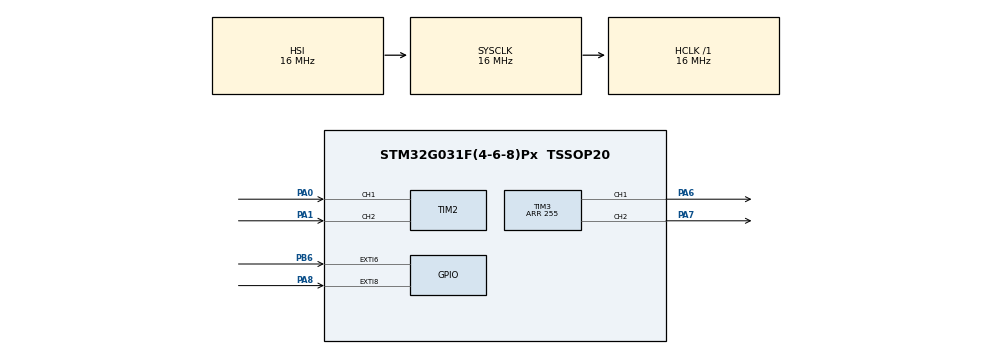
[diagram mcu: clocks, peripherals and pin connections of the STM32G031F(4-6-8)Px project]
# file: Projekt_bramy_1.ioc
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Mcu.Family=STM32G0
Mcu.Name=STM32G031F(4-6-8)Px
Mcu.Package=TSSOP20
NVIC.EXTI4_15_IRQn=true\:0\:0\:false\:false\:true\:true\:true\:true
NVIC.TIM14_IRQn=true\:0\:0\:false\:false\:true\:true\:true\:true
NVIC.TIM17_IRQn=true\:0\:0\:false\:false\:true\:true\:true\:true
PA0.Signal=S_TIM2_CH1_ETR
PA1.Signal=S_TIM2_CH2
PA14-BOOT0__PA15.StandardMode=true
PA6.Signal=S_TIM3_CH1
PA7.Signal=S_TIM3_CH2
PA8.GPIO_ModeDefaultEXTI=GPIO_MODE_IT_RISING_FALLING
PA8.GPIO_PuPd=GPIO_PULLUP
PA8.Signal=GPXTI8
PB0__PB1__PB2__PA8.StandardMode=true
PB3__PB4__PB5__PB6.StandardMode=true
PB6.GPIO_ModeDefaultEXTI=GPIO_MODE_IT_RISING_FALLING
PB6.Signal=GPXTI6
PB7__PB8.StandardMode=true
PC14-OSC32_IN\ (PC14).Mode=LSE-External-Oscillator
PC14-OSC32_IN\ (PC14).Signal=RCC_OSC32_IN
PC14-OSC32_IN\ (PC14)__PB9.StandardMode=true
PC15-OSC32_OUT\ (PC15).Mode=LSE-External-Oscillator
PC15-OSC32_OUT\ (PC15).Signal=RCC_OSC32_OUT
ProjectManager.HeapSize=0x200
ProjectManager.StackSize=0x400
ProjectManager.TargetToolchain=CMake
RCC.AHBFreq_Value=16000000
RCC.CortexFreq_Value=16000000
RCC.EXTERNAL_CLOCK_VALUE=12288000
RCC.HCLKFreq_Value=16000000
RCC.HSE_VALUE=8000000
RCC.HSI_VALUE=16000000
RCC.SYSCLKFreq_VALUE=16000000
RCC.VCOOutputFreq_Value=128000000
SH.S_TIM2_CH1_ETR.0=TIM2_CH1,Encoder_Interface
SH.S_TIM2_CH2.0=TIM2_CH2,Encoder_Interface
SH.S_TIM3_CH1.0=TIM3_CH1,PWM Generation1 CH1
SH.S_TIM3_CH2.0=TIM3_CH2,PWM Generation2 CH2
TIM14.Period=100
TIM14.Prescaler=160-1
TIM17.Channel=TIM_CHANNEL_1
TIM17.Prescaler=16000 -1
TIM3.AutoReloadPreload=TIM_AUTORELOAD_PRELOAD_DISABLE
TIM3.Channel-PWM\ Generation1\ CH1=TIM_CHANNEL_1
TIM3.Channel-PWM\ Generation2\ CH2=TIM_CHANNEL_2
TIM3.Period=255
VP_TIM14_VS_ClockSourceINT.Mode=Enable_Timer
VP_TIM17_VS_ClockSourceINT.Mode=Enable_Timer
VP_TIM17_VS_no_output1.Mode=Output Compare1 No Output
board=custom

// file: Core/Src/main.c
/* USER CODE BEGIN Header */
/**
  ******************************************************************************
  * @file           : main.c
  * @brief          : Main program body
  ******************************************************************************
  * @attention
  *
  * Copyright (c) 2026 STMicroelectronics.
  * All rights reserved.
  *
  * This software is licensed under terms that can be found in the LICENSE file
  * in the root directory of this software component.
  * If no LICENSE file comes with this software, it is provided AS-IS.
  *
  ******************************************************************************
  */
/* USER CODE END Header */
#include "main.h"

/* USER CODE BEGIN PD */
void setMotor(uint32_t speed, uint8_t direction);

/* USER CODE END PD */

TIM_HandleTypeDef htim2;
TIM_HandleTypeDef htim3;
TIM_HandleTypeDef htim14;
TIM_HandleTypeDef htim17;

/* USER CODE BEGIN PV */
uint32_t rawCounter = 0;
// int32_t signedcounter;

float motorEncoderPosition = 0;
float motorRealPosition = 0;
float motorOffset = 0;
float targetPosition = 0;
float homingOffset = 0.5f;
float openPosition = 3.0f;

volatile uint8_t contactAtHome = 0;
volatile uint8_t contact = 0;
volatile uint8_t homingInProgress = 0;

//float kp = 0;
// float ki = 100;
// float kd = 160;

// float dt = 0.01f;
// float Error = 0;
// float prevError = 0;
// float integral = 0;
// float derivative = 0;
// float controlOutput = 0;

/* USER CODE END PV */

void SystemClock_Config(void);
static void MX_GPIO_Init(void);
static void MX_TIM3_Init(void);
static void MX_TIM2_Init(void);
static void MX_TIM14_Init(void);
static void MX_TIM17_Init(void);
/* USER CODE BEGIN PFP */

//the sustem tick for pid control

void HAL_TIM_PeriodElapsedCallback(TIM_HandleTypeDef *htim){
  if(htim->Instance == TIM14) // bang bang control loop
  {
    rawCounter = __HAL_TIM_GET_COUNTER(&htim2);
    int32_t counter = (int32_t)rawCounter;
    motorEncoderPosition = (float)counter / 4200.0f;  // 3600.0f;;//8340.0f; 3840
    motorRealPosition = motorEncoderPosition - motorOffset;
    // signedcounter = (int32_t)rawCounter;

    if (motorRealPosition < targetPosition - 0.01f)
    {
      setMotor(255, 1); // Forward at full speed
    }
    else if (motorRealPosition > targetPosition + 0.01f)
    {
      setMotor(255, 0); // Reverse at full speed
    }
    else
    {
      setMotor(0, 3); // Stop
    }

    // Error = targetPosition - motorPosition;
    // derivative = (Error - prevError) / dt;
    // integral += Error * dt;

    // controlOutput = kp * Error + ki * integral + kd * derivative;

    // if (controlOutput > 255)
    //   controlOutput = 255;
    // else if (controlOutput < -255)
    //   controlOutput = -255;

    // if (controlOutput > 0)
    //   setMotor((uint32_t)controlOutput, 1); // Forward
    // else if (controlOutput < 0)
    //   setMotor((uint32_t)(-controlOutput), 0); // Reverse
    // else
    //   setMotor(0, 3); // Stop
  }
  else if(htim->Instance == TIM17) // timeout for IR sensor
  {
    targetPosition = 0;
    HAL_TIM_Base_Stop_IT(&htim17);
  }
}

void HAL_GPIO_EXTI_Callback(uint16_t GPIO_Pin)
{
  if (GPIO_Pin == GPIO_PIN_8) // Home pin
  {
    contact = (HAL_GPIO_ReadPin(GPIOA, GPIO_PIN_8) == GPIO_PIN_RESET); // Active low
  }
  else if (GPIO_Pin == GPIO_PIN_6) // IR sensor pin
  {
    if (HAL_GPIO_ReadPin(GPIOB, GPIO_PIN_6) == GPIO_PIN_RESET) // Active low
    {
      targetPosition = openPosition;
      HAL_TIM_Base_Start_IT(&htim17);
      __HAL_TIM_SET_COUNTER(&htim17, 0);
      __HAL_TIM_SET_AUTORELOAD(&htim17, 3000); // <-- 3 seconds timeout

    }
  }
}

/* USER CODE END PFP */

/* USER CODE BEGIN 0 */
void setMotor(uint32_t speed, uint8_t direction)
{
  switch (direction)
  {
    case 0: // Reverse
      __HAL_TIM_SET_COMPARE(&htim3, TIM_CHANNEL_1, speed);
      __HAL_TIM_SET_COMPARE(&htim3, TIM_CHANNEL_2, 0);
      break;
    case 1: // Forward
      __HAL_TIM_SET_COMPARE(&htim3, TIM_CHANNEL_1, 0);
      __HAL_TIM_SET_COMPARE(&htim3, TIM_CHANNEL_2, speed);
      break;
    case 2: // brake
      __HAL_TIM_SET_COMPARE(&htim3, TIM_CHANNEL_1, 255);
      __HAL_TIM_SET_COMPARE(&htim3, TIM_CHANNEL_2, 255);
      break;
    default: // Stop
      __HAL_TIM_SET_COMPARE(&htim3, TIM_CHANNEL_1, 0);
      __HAL_TIM_SET_COMPARE(&htim3, TIM_CHANNEL_2, 0);
      break;
  }
}

void homing(){
  homingInProgress = 1;
  HAL_TIM_Base_Start(&htim17);
  __HAL_TIM_SET_AUTORELOAD(&htim17, 65535);
  __HAL_TIM_SET_COUNTER(&htim17, 0);
  contactAtHome = (HAL_GPIO_ReadPin(GPIOA, GPIO_PIN_8) == GPIO_PIN_RESET); // Active low
  contact = contactAtHome;
  if(contactAtHome){
    setMotor(100, 1);
    while(contact && (__HAL_TIM_GET_COUNTER(&htim17) < 3000)){
      HAL_Delay(10);
    }
    HAL_Delay(100);
    setMotor(0, 3);
  }
  setMotor(100, 0);
  while(!contact && (__HAL_TIM_GET_COUNTER(&htim17) < (contactAtHome ? 6000 : 3000))){
    HAL_Delay(10);
  }
  motorOffset = motorEncoderPosition + homingOffset;
  setMotor(0, 3);
  targetPosition = 0;
  HAL_TIM_Base_Stop(&htim17);
  homingInProgress = 0;
}

/* USER CODE END 0 */

int main(void)
{

  /* MCU Configuration--------------------------------------------------------*/

  /* Reset of all peripherals, Initializes the Flash interface and the Systick. */
  HAL_Init();

  /* Configure the system clock */
  SystemClock_Config();

  /* Initialize all configured peripherals */
  MX_GPIO_Init();
  MX_TIM3_Init();
  MX_TIM2_Init();
  MX_TIM14_Init();
  MX_TIM17_Init();
  /* USER CODE BEGIN 2 */
  HAL_TIM_Encoder_Start(&htim2, TIM_CHANNEL_ALL);
  HAL_TIM_PWM_Start(&htim3, TIM_CHANNEL_1);
  HAL_TIM_PWM_Start(&htim3, TIM_CHANNEL_2);

  homing();

  HAL_TIM_Base_Start_IT(&htim14);
  /* USER CODE END 2 */

  /* Infinite loop */
  /* USER CODE BEGIN WHILE */
  while (1)
  {
    // rawCounter = __HAL_TIM_GET_COUNTER(&htim2);
    // int32_t counter = (int32_t)rawCounter;
    // motorEncoderPosition = (float)counter / 4200.0f;

    // targetPosition = 1;
    // HAL_Delay(5000);
    // targetPosition = 0;
    // HAL_Delay(5000);
    // int targetPosition = 250*sinf(prevT/1e6);

    // HAL_GPIO_WritePin(GPIOB, GPIO_PIN_3, GPIO_PIN_SET);

      // HAL_Delay(10);

    /* USER CODE END WHILE */

  }
}

void SystemClock_Config(void)
{
  RCC_OscInitTypeDef RCC_OscInitStruct = {0};
  RCC_ClkInitTypeDef RCC_ClkInitStruct = {0};

  /** Configure the main internal regulator output voltage
  */
  HAL_PWREx_ControlVoltageScaling(PWR_REGULATOR_VOLTAGE_SCALE1);

  /** Initializes the RCC Oscillators according to the specified parameters
  * in the RCC_OscInitTypeDef structure.
  */
  RCC_OscInitStruct.OscillatorType = RCC_OSCILLATORTYPE_HSI;
  RCC_OscInitStruct.HSIState = RCC_HSI_ON;
  RCC_OscInitStruct.HSIDiv = RCC_HSI_DIV1;
  RCC_OscInitStruct.HSICalibrationValue = RCC_HSICALIBRATION_DEFAULT;
  RCC_OscInitStruct.PLL.PLLState = RCC_PLL_NONE;
  if (HAL_RCC_OscConfig(&RCC_OscInitStruct) != HAL_OK)
  {
    Error_Handler();
  }

  /** Initializes the CPU, AHB and APB buses clocks
  */
  RCC_ClkInitStruct.ClockType = RCC_CLOCKTYPE_HCLK|RCC_CLOCKTYPE_SYSCLK
                              |RCC_CLOCKTYPE_PCLK1;
  RCC_ClkInitStruct.SYSCLKSource = RCC_SYSCLKSOURCE_HSI;
  RCC_ClkInitStruct.AHBCLKDivider = RCC_SYSCLK_DIV1;
  RCC_ClkInitStruct.APB1CLKDivider = RCC_HCLK_DIV1;

  if (HAL_RCC_ClockConfig(&RCC_ClkInitStruct, FLASH_LATENCY_0) != HAL_OK)
  {
    Error_Handler();
  }
}

static void MX_TIM2_Init(void)
{

  TIM_Encoder_InitTypeDef sConfig = {0};
  TIM_MasterConfigTypeDef sMasterConfig = {0};

  htim2.Instance = TIM2;
  htim2.Init.Prescaler = 0;
  htim2.Init.CounterMode = TIM_COUNTERMODE_UP;
  htim2.Init.Period = 4294967295;
  htim2.Init.ClockDivision = TIM_CLOCKDIVISION_DIV1;
  htim2.Init.AutoReloadPreload = TIM_AUTORELOAD_PRELOAD_DISABLE;
  sConfig.EncoderMode = TIM_ENCODERMODE_TI1;
  sConfig.IC1Polarity = TIM_ICPOLARITY_RISING;
  sConfig.IC1Selection = TIM_ICSELECTION_DIRECTTI;
  sConfig.IC1Prescaler = TIM_ICPSC_DIV1;
  sConfig.IC1Filter = 0;
  sConfig.IC2Polarity = TIM_ICPOLARITY_RISING;
  sConfig.IC2Selection = TIM_ICSELECTION_DIRECTTI;
  sConfig.IC2Prescaler = TIM_ICPSC_DIV1;
  sConfig.IC2Filter = 0;
  if (HAL_TIM_Encoder_Init(&htim2, &sConfig) != HAL_OK)
  {
    Error_Handler();
  }
  sMasterConfig.MasterOutputTrigger = TIM_TRGO_RESET;
  sMasterConfig.MasterSlaveMode = TIM_MASTERSLAVEMODE_DISABLE;
  if (HAL_TIMEx_MasterConfigSynchronization(&htim2, &sMasterConfig) != HAL_OK)
  {
    Error_Handler();
  }

}

static void MX_TIM3_Init(void)
{

  TIM_MasterConfigTypeDef sMasterConfig = {0};
  TIM_OC_InitTypeDef sConfigOC = {0};

  htim3.Instance = TIM3;
  htim3.Init.Prescaler = 0;
  htim3.Init.CounterMode = TIM_COUNTERMODE_UP;
  htim3.Init.Period = 255;
  htim3.Init.ClockDivision = TIM_CLOCKDIVISION_DIV1;
  htim3.Init.AutoReloadPreload = TIM_AUTORELOAD_PRELOAD_DISABLE;
  if (HAL_TIM_PWM_Init(&htim3) != HAL_OK)
  {
    Error_Handler();
  }
  sMasterConfig.MasterOutputTrigger = TIM_TRGO_RESET;
  sMasterConfig.MasterSlaveMode = TIM_MASTERSLAVEMODE_DISABLE;
  if (HAL_TIMEx_MasterConfigSynchronization(&htim3, &sMasterConfig) != HAL_OK)
  {
    Error_Handler();
  }
  sConfigOC.OCMode = TIM_OCMODE_PWM1;
  sConfigOC.Pulse = 0;
  sConfigOC.OCPolarity = TIM_OCPOLARITY_HIGH;
  sConfigOC.OCFastMode = TIM_OCFAST_DISABLE;
  if (HAL_TIM_PWM_ConfigChannel(&htim3, &sConfigOC, TIM_CHANNEL_1) != HAL_OK)
  {
    Error_Handler();
  }
  if (HAL_TIM_PWM_ConfigChannel(&htim3, &sConfigOC, TIM_CHANNEL_2) != HAL_OK)
  {
    Error_Handler();
  }
  HAL_TIM_MspPostInit(&htim3);

}

static void MX_TIM14_Init(void)
{

  htim14.Instance = TIM14;
  htim14.Init.Prescaler = 160-1;
  htim14.Init.CounterMode = TIM_COUNTERMODE_UP;
  htim14.Init.Period = 100;
  htim14.Init.ClockDivision = TIM_CLOCKDIVISION_DIV1;
  htim14.Init.AutoReloadPreload = TIM_AUTORELOAD_PRELOAD_DISABLE;
  if (HAL_TIM_Base_Init(&htim14) != HAL_OK)
  {
    Error_Handler();
  }

}

static void MX_TIM17_Init(void)
{

  TIM_OC_InitTypeDef sConfigOC = {0};
  TIM_BreakDeadTimeConfigTypeDef sBreakDeadTimeConfig = {0};

  htim17.Instance = TIM17;
  htim17.Init.Prescaler = 16000 -1;
  htim17.Init.CounterMode = TIM_COUNTERMODE_UP;
  htim17.Init.Period = 65535;
  htim17.Init.ClockDivision = TIM_CLOCKDIVISION_DIV1;
  htim17.Init.RepetitionCounter = 0;
  htim17.Init.AutoReloadPreload = TIM_AUTORELOAD_PRELOAD_DISABLE;
  if (HAL_TIM_Base_Init(&htim17) != HAL_OK)
  {
    Error_Handler();
  }
  if (HAL_TIM_OC_Init(&htim17) != HAL_OK)
  {
    Error_Handler();
  }
  sConfigOC.OCMode = TIM_OCMODE_TIMING;
  sConfigOC.Pulse = 0;
  sConfigOC.OCPolarity = TIM_OCPOLARITY_HIGH;
  sConfigOC.OCNPolarity = TIM_OCNPOLARITY_HIGH;
  sConfigOC.OCFastMode = TIM_OCFAST_DISABLE;
  sConfigOC.OCIdleState = TIM_OCIDLESTATE_RESET;
  sConfigOC.OCNIdleState = TIM_OCNIDLESTATE_RESET;
  if (HAL_TIM_OC_ConfigChannel(&htim17, &sConfigOC, TIM_CHANNEL_1) != HAL_OK)
  {
    Error_Handler();
  }
  sBreakDeadTimeConfig.OffStateRunMode = TIM_OSSR_DISABLE;
  sBreakDeadTimeConfig.OffStateIDLEMode = TIM_OSSI_DISABLE;
  sBreakDeadTimeConfig.LockLevel = TIM_LOCKLEVEL_OFF;
  sBreakDeadTimeConfig.DeadTime = 0;
  sBreakDeadTimeConfig.BreakState = TIM_BREAK_DISABLE;
  sBreakDeadTimeConfig.BreakPolarity = TIM_BREAKPOLARITY_HIGH;
  sBreakDeadTimeConfig.BreakFilter = 0;
  sBreakDeadTimeConfig.AutomaticOutput = TIM_AUTOMATICOUTPUT_DISABLE;
  if (HAL_TIMEx_ConfigBreakDeadTime(&htim17, &sBreakDeadTimeConfig) != HAL_OK)
  {
    Error_Handler();
  }

}

static void MX_GPIO_Init(void)
{
  GPIO_InitTypeDef GPIO_InitStruct = {0};

  /* GPIO Ports Clock Enable */
  __HAL_RCC_GPIOC_CLK_ENABLE();
  __HAL_RCC_GPIOA_CLK_ENABLE();
  __HAL_RCC_GPIOB_CLK_ENABLE();

  /*Configure GPIO pin : PA8 */
  GPIO_InitStruct.Pin = GPIO_PIN_8;
  GPIO_InitStruct.Mode = GPIO_MODE_IT_RISING_FALLING;
  GPIO_InitStruct.Pull = GPIO_PULLUP;
  HAL_GPIO_Init(GPIOA, &GPIO_InitStruct);

  /*Configure GPIO pin : PB6 */
  GPIO_InitStruct.Pin = GPIO_PIN_6;
  GPIO_InitStruct.Mode = GPIO_MODE_IT_RISING_FALLING;
  GPIO_InitStruct.Pull = GPIO_NOPULL;
  HAL_GPIO_Init(GPIOB, &GPIO_InitStruct);

  /* EXTI interrupt init*/
  HAL_NVIC_SetPriority(EXTI4_15_IRQn, 0, 0);
  HAL_NVIC_EnableIRQ(EXTI4_15_IRQn);

}

void Error_Handler(void)
{
  __disable_irq();
  while (1)
  {
  }
}
